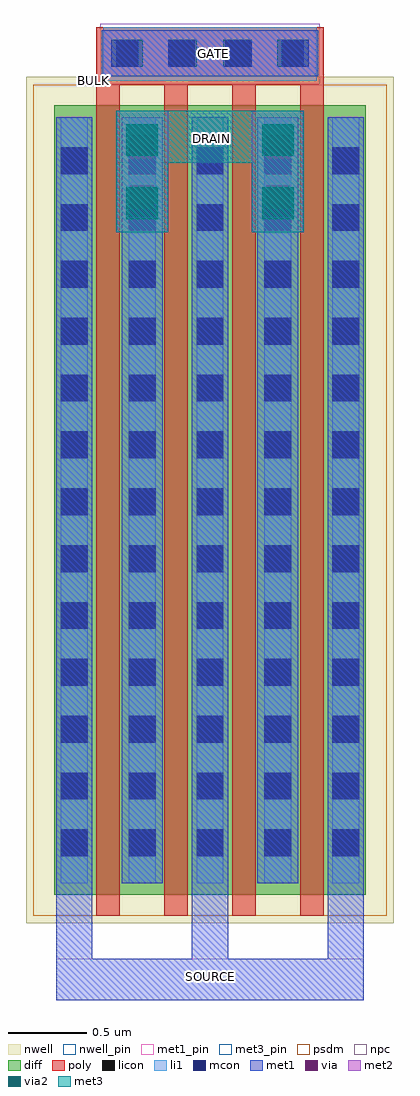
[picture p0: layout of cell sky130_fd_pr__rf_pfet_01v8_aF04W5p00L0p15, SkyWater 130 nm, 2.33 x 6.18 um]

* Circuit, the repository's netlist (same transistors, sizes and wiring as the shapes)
* Copyright 2020 The SkyWater PDK Authors
*
* Licensed under the Apache License, Version 2.0 (the "License");
* you may not use this file except in compliance with the License.
* You may obtain a copy of the License at
*
*     https://www.apache.org/licenses/LICENSE-2.0
*
* Unless required by applicable law or agreed to in writing, software
* distributed under the License is distributed on an "AS IS" BASIS,
* WITHOUT WARRANTIES OR CONDITIONS OF ANY KIND, either express or implied.
* See the License for the specific language governing permissions and
* limitations under the License.
*
* SPDX-License-Identifier: Apache-2.0


.subckt sky130_fd_pr__rf_pfet_01v8_aF04W5p00L0p15 BULK DRAIN GATE SOURCE
X0 SOURCE GATE DRAIN BULK sky130_fd_pr__pfet_01v8 w=5e+06u l=150000u
X1 DRAIN GATE SOURCE BULK sky130_fd_pr__pfet_01v8 w=5e+06u l=150000u
X2 SOURCE GATE DRAIN BULK sky130_fd_pr__pfet_01v8 w=5e+06u l=150000u
X3 DRAIN GATE SOURCE BULK sky130_fd_pr__pfet_01v8 w=5e+06u l=150000u
.ends

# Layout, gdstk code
import gdstk
lib = gdstk.Library(unit=1e-6, precision=1e-09)
def R(c, l, rs):  # rectangles x0, y0, x1, y1
    for r in rs: c.add(gdstk.rectangle(r[:2], r[2:], *l))
def A(c, l, x, y, w, h, nx, ny, dx, dy):  # array of equal rectangles
    R(c, l, [(x+i*dx, y+j*dy, x+i*dx+w, y+j*dy+h) for i in range(nx) for j in range(ny)])
nwell_pin = (64, 16)
nwell = (64, 20)
diff = (65, 20)
poly = (66, 20)
licon = (66, 44)
li1 = (67, 20)
mcon = (67, 44)
met1_pin = (68, 16)
met1 = (68, 20)
via = (68, 44)
met2 = (69, 20)
via2 = (69, 44)
met3_pin = (70, 16)
met3 = (70, 20)
psdm = (94, 20)
npc = (95, 20)

sky130_fd_pr__rf_pfet_01 = lib.new_cell('sky130_fd_pr__rf_pfet_01v8_aF04W5p00L0p15')
R(sky130_fd_pr__rf_pfet_01, nwell_pin, [(0.42,5.315,0.44,5.35)])
R(sky130_fd_pr__rf_pfet_01, nwell, [(0,0,2.33,5.36)])
A(sky130_fd_pr__rf_pfet_01, diff, 0.445, 0.18, 0.15, 5, 4, 1, 0.43, 0)
R(sky130_fd_pr__rf_pfet_01, diff, [(0.18,0.18,0.445,5.18), (0.21,0.18,0.445,5.18), (0.595,0.18,0.875,5.18), (1.025,0.18,1.305,5.18), (1.025,0.18,1.305,5.18), (1.055,0.18,1.305,5.18), (1.455,0.18,1.735,5.18), (1.885,0.18,2.15,5.18), (1.885,0.18,2.15,5.18), (1.915,0.18,2.15,5.18)])
A(sky130_fd_pr__rf_pfet_01, poly, 0.445, 0.05, 0.15, 0.13, 4, 2, 0.43, 5.13)
A(sky130_fd_pr__rf_pfet_01, poly, 0.445, 0.05, 0.15, 5.26, 4, 1, 0.43, 0)
R(sky130_fd_pr__rf_pfet_01, poly, [(0.445,5.31,1.885,5.675), (0.49,5.335,1.84,5.675)])
A(sky130_fd_pr__rf_pfet_01, licon, 0.22, 0.425, 0.17, 0.17, 5, 13, 0.43, 0.36)
A(sky130_fd_pr__rf_pfet_01, licon, 0.57, 5.425, 0.17, 0.17, 4, 1, 0.34, 0)
A(sky130_fd_pr__rf_pfet_01, li1, 0.22, 0.255, 0.17, 4.85, 5, 1, 0.43, 0)
R(sky130_fd_pr__rf_pfet_01, li1, [(0.49,5.335,1.84,5.675), (0.54,5.425,1.79,5.595)])
A(sky130_fd_pr__rf_pfet_01, mcon, 0.22, 0.425, 0.17, 0.17, 5, 13, 0.43, 0.36)
A(sky130_fd_pr__rf_pfet_01, mcon, 0.54, 5.425, 0.17, 0.17, 4, 1, 0.36, 0)
R(sky130_fd_pr__rf_pfet_01, met1_pin, [(0.19,-0.485,2.14,-0.225), (0.48,5.365,1.85,5.655)])
R(sky130_fd_pr__rf_pfet_01, met1, [(0.48,5.365,1.85,5.655)])
R(sky130_fd_pr__rf_pfet_01, via, [(0.66,4.525,0.81,4.675), (1.52,4.525,1.67,4.675), (0.66,4.845,0.81,4.995), (1.52,4.845,1.67,4.995)])
R(sky130_fd_pr__rf_pfet_01, met2, [(0.57,4.375,0.9,5.145), (1.43,4.375,1.76,5.145), (0.605,4.44,0.865,5.08), (1.465,4.44,1.725,5.08)])
R(sky130_fd_pr__rf_pfet_01, via2, [(0.635,4.46,0.835,4.66), (1.495,4.46,1.695,4.66), (0.635,4.86,0.835,5.06), (1.495,4.86,1.695,5.06)])
R(sky130_fd_pr__rf_pfet_01, met3_pin, [(0.57,4.815,1.76,5.145)])
R(sky130_fd_pr__rf_pfet_01, met3, [(0.57,4.375,0.9,5.145), (1.43,4.375,1.76,5.145)])
A(sky130_fd_pr__rf_pfet_01, psdm, 0.465, 0.05, 0.54, 5.26, 3, 1, 0.43, 0)
A(sky130_fd_pr__rf_pfet_01, psdm, 0.625, 0.05, 0.4, 5.26, 3, 1, 0.43, 0)
R(sky130_fd_pr__rf_pfet_01, psdm, [(0.045,0.05,0.575,5.31), (0.21,0.05,0.595,5.31), (1.755,0.05,2.285,5.31)])
R(sky130_fd_pr__rf_pfet_01, npc, [(0.47,5.315,1.86,5.695)])
sky130_fd_pr__rf_pfet_01.add(gdstk.FlexPath([(0.57,4.98),(1.76,4.98)], 0.33, ends="flush", simple_path=True, layer=70, datatype=20))  # met3
sky130_fd_pr__rf_pfet_01.add(gdstk.FlexPath([(2.025,5.105),(2.025,-0.485)], 0.23, ends="flush", simple_path=True, layer=68, datatype=20))  # met1
sky130_fd_pr__rf_pfet_01.add(gdstk.FlexPath([(1.165,5.105),(1.165,-0.485)], 0.23, ends="flush", simple_path=True, layer=68, datatype=20))  # met1
sky130_fd_pr__rf_pfet_01.add(gdstk.FlexPath([(0.305,5.105),(0.305,-0.485)], 0.23, ends="flush", simple_path=True, layer=68, datatype=20))  # met1
sky130_fd_pr__rf_pfet_01.add(gdstk.FlexPath([(0.735,5.105),(0.735,0.255)], 0.26, ends="flush", simple_path=True, layer=68, datatype=20))  # met1
sky130_fd_pr__rf_pfet_01.add(gdstk.FlexPath([(1.595,5.105),(1.595,0.255)], 0.26, ends="flush", simple_path=True, layer=68, datatype=20))  # met1
sky130_fd_pr__rf_pfet_01.add(gdstk.FlexPath([(0.19,-0.355),(2.14,-0.355)], 0.26, ends="flush", simple_path=True, layer=68, datatype=20))  # met1
sky130_fd_pr__rf_pfet_01.add(gdstk.Label('DRAIN', (1.175,4.97), layer=70, texttype=16))
sky130_fd_pr__rf_pfet_01.add(gdstk.Label('GATE', (1.19,5.51), layer=68, texttype=16))
sky130_fd_pr__rf_pfet_01.add(gdstk.Label('SOURCE', (1.165,-0.335), layer=68, texttype=16))
sky130_fd_pr__rf_pfet_01.add(gdstk.Label('BULK', (0.43,5.335), layer=64, texttype=5))

lib.write_gds('sky130_fd_pr__rf_pfet_01v8_aF04W5p00L0p15.gds')
